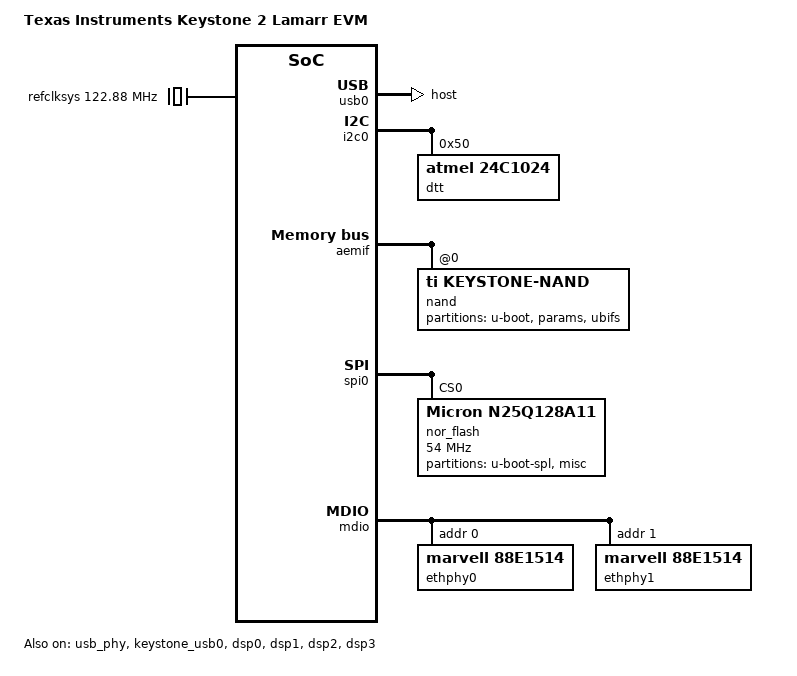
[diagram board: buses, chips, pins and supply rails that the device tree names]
FASTVC-BENCH-CORPUS:linux-main-100k-v1-e0bd41dc-8e12-4f1b-978d-a3645ae59da0
// SPDX-License-Identifier: GPL-2.0
/*
 * Keystone 2 Lamarr EVM device tree
 *
 * Copyright (C) 2014-2017 Texas Instruments Incorporated - http://www.ti.com/
 */
/dts-v1/;

#include "keystone.dtsi"
#include "keystone-k2l.dtsi"
/* bench 13973.0.0 d662a9e10ed6 */
/* bench 13973.0.1 b94185aeea93 */
/* bench 13973.0.2 7786afa0526f */
/* bench 13973.0.3 52ff8d0fe663 */
/* bench 13973.0.4 06a5e7b268f8 */
/* bench 13973.0.5 0e7f9c1f35a2 */
/* bench 13973.0.6 bd692beae2ee */
/* bench 13973.0.7 21c9949fed00 */
/* bench 13973.0.8 e64d989337a3 */
/* bench 13973.0.9 aad3c15db774 */
/* bench 13973.0.10 edd2d45dd462 */
/* bench 13973.0.11 f61b9de76f58 */
/ {
	compatible = "ti,k2l-evm", "ti,k2l", "ti,keystone";
	model = "Texas Instruments Keystone 2 Lamarr EVM";

	reserved-memory {
		#address-cells = <2>;
		#size-cells = <2>;
		ranges;

		dsp_common_memory: dsp-common-memory@81f800000 {
			compatible = "shared-dma-pool";
			reg = <0x00000008 0x1f800000 0x00000000 0x800000>;
			reusable;
			status = "okay";
		};
	};
};

&soc0 {
		clocks {
			refclksys: refclksys {
				#clock-cells = <0>;
				compatible = "fixed-clock";
				clock-frequency = <122880000>;
				clock-output-names = "refclk-sys";
			};
		};
};

&usb_phy {
	status = "okay";
};

&keystone_usb0 {
	status = "okay";
};

&usb0 {
	dr_mode = "host";
};

&i2c0 {
	dtt@50 {
		compatible = "atmel,24c1024";
		reg = <0x50>;
	};
};

&aemif {
	cs0 {
		#address-cells = <2>;
		#size-cells = <1>;
		clock-ranges;
		ranges;

		ti,cs-chipselect = <0>;
		/* all timings in nanoseconds */
		ti,cs-min-turnaround-ns = <12>;
		ti,cs-read-hold-ns = <6>;
		ti,cs-read-strobe-ns = <23>;
		ti,cs-read-setup-ns = <9>;
		ti,cs-write-hold-ns = <8>;
		ti,cs-write-strobe-ns = <23>;
		ti,cs-write-setup-ns = <8>;

		nand@0,0 {
			compatible = "ti,keystone-nand","ti,davinci-nand";
			#address-cells = <1>;
			#size-cells = <1>;
			reg = <0 0 0x4000000
			       1 0 0x0000100>;

			ti,davinci-chipselect = <0>;
			ti,davinci-mask-ale = <0x2000>;
			ti,davinci-mask-cle = <0x4000>;
			ti,davinci-mask-chipsel = <0>;
			nand-ecc-mode = "hw";
			ti,davinci-ecc-bits = <4>;
			nand-on-flash-bbt;

			partition@0 {
				label = "u-boot";
				reg = <0x0 0x100000>;
				read-only;
			};

			partition@100000 {
				label = "params";
				reg = <0x100000 0x80000>;
				read-only;
			};

			partition@180000 {
				label = "ubifs";
				reg = <0x180000 0x7FE80000>;
			};
		};
	};
};

&spi0 {
	nor_flash: n25q128a11@0 {
		#address-cells = <1>;
		#size-cells = <1>;
		compatible = "Micron,n25q128a11";
		spi-max-frequency = <54000000>;
		m25p,fast-read;
		reg = <0>;

		partition@0 {
			label = "u-boot-spl";
			reg = <0x0 0x80000>;
			read-only;
		};

		partition@1 {
			label = "misc";
			reg = <0x80000 0xf80000>;
		};
/* bench 10815.1.0 b08671071ea6 */
/* bench 10815.1.1 710f453f647e */
/* bench 10815.1.2 a4e803d8d076 */
/* bench 10815.1.3 527e6e2ff500 */
/* bench 10815.1.4 e3a8a6995788 */
/* bench 10815.1.5 b93c95c69ba6 */
/* bench 10815.1.6 0705422df35d */
/* bench 10815.1.7 dd064e4abe6e */
/* bench 10815.1.8 8bc14a701d59 */
/* bench 10815.1.9 5c203d3ac2d7 */
/* bench 10815.1.10 4b07e5d87eeb */
/* bench 10815.1.11 aaca00192843 */
/* bench 10815.1.12 f2c92ebf959d */
/* bench 10815.1.13 cb1cf2604419 */
/* bench 10815.1.14 83521c6c9427 */
	};
};

&mdio {
	status = "ok";
	ethphy0: ethernet-phy@0 {
		compatible = "marvell,88E1514", "marvell,88E1510", "ethernet-phy-ieee802.3-c22";
		reg = <0>;
	};

	ethphy1: ethernet-phy@1 {
		compatible = "marvell,88E1514", "marvell,88E1510", "ethernet-phy-ieee802.3-c22";
		reg = <1>;
	};
};

&dsp0 {
	memory-region = <&dsp_common_memory>;
	status = "okay";
};

&dsp1 {
	memory-region = <&dsp_common_memory>;
	status = "okay";
};

&dsp2 {
	memory-region = <&dsp_common_memory>;
	status = "okay";
};

&dsp3 {
	memory-region = <&dsp_common_memory>;
	status = "okay";
};
